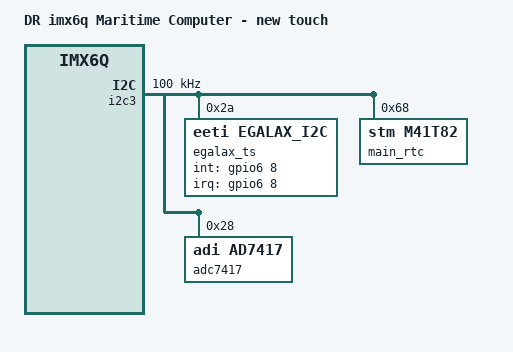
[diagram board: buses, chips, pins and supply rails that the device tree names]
/*
 * Copyright 2015 DATA RESPONS AS
 *
 * The code contained herein is licensed under the GNU General Public
 * License. You may obtain a copy of the GNU General Public License
 * Version 2 or later at the following locations:
 *
 * http://www.opensource.org/licenses/gpl-license.html
 * http://www.gnu.org/copyleft/gpl.html
 */

/dts-v1/;

#include "imx6q.dtsi"
#include "mxxf1-common.dtsi"

/ {
    model = "DR imx6q Maritime Computer - new touch";
    compatible = "fsl,imx6q";

};

&i2c3 {
    clock-frequency = <100000>;
    pinctrl-names = "default";
    pinctrl-0 = <&pinctrl_i2c3>;
    status = "okay";

    egalax_ts@2a {
        compatible = "eeti,egalax_i2c";
        reg = <0x2a>;
        interrupt-parent = <&gpio6>;
        interrupts = <8 IRQ_TYPE_LEVEL_LOW>;
        int-gpios = <&gpio6 8 0>;
        disable-suspend = <1>;
        };

    main_rtc: rtc@68 {
        compatible = "stm,m41t82";
        reg = <0x68>;
        };

    adc7417@28 {
        compatible = "adi,ad7417";
        reg = <0x28>;
        };
};
